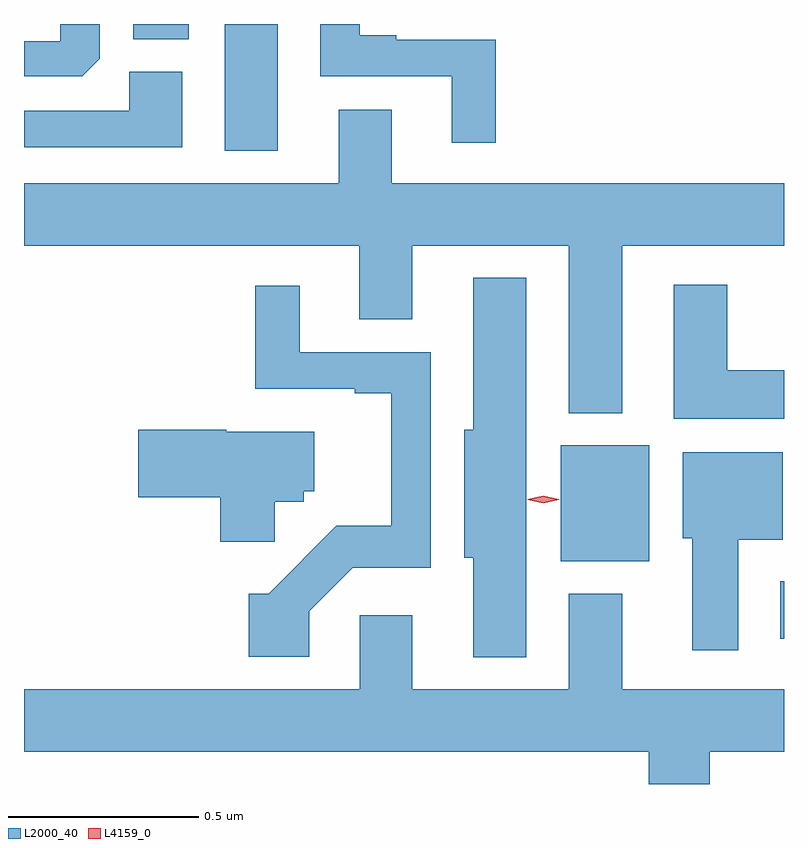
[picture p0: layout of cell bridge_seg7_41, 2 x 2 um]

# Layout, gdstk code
import gdstk
lib = gdstk.Library(unit=1e-6, precision=1e-09)
def R(c, l, rs):  # rectangles x0, y0, x1, y1
    for r in rs: c.add(gdstk.rectangle(r[:2], r[2:], *l))
def P(c, l, *ps):  # polygons
    for p in ps: c.add(gdstk.Polygon(p, *l))
L2000_40 = (2000, 40)
L4159_0 = (4159, 0)

bridge_seg7_41 = lib.new_cell('bridge_seg7_41')
R(bridge_seg7_41, L2000_40, [(977.787,1043.537,977.797,1043.689), (977.21,1043.741,977.443,1044.046), (976.325,1044.821,976.465,1045.155), (976.085,1045.115,976.231,1045.155)])
P(bridge_seg7_41, L2000_40, [(977.039,1045.113),(976.777,1045.113),(976.777,1045.126),(976.681,1045.126),(976.681,1045.155),(976.577,1045.155),(976.577,1045.017),(976.922,1045.017),(976.922,1044.843),(977.039,1044.843)],
  [(975.996,1045.063),(975.996,1045.155),(975.893,1045.155),(975.893,1045.11),(975.797,1045.11),(975.797,1045.017),(975.95,1045.017)],
  [(976.213,1045.03),(976.074,1045.03),(976.074,1044.927),(975.797,1044.927),(975.797,1044.831),(976.213,1044.831)],
  [(977.371,1044.572),(977.797,1044.572),(977.797,1044.736),(976.765,1044.736),(976.765,1044.93),(976.625,1044.93),(976.625,1044.736),(975.797,1044.736),(975.797,1044.572),(976.679,1044.572),(976.679,1044.378),(976.819,1044.378),(976.819,1044.572),(977.231,1044.572),(977.231,1044.131),(977.371,1044.131)],
  [(977.119,1044.487),(976.979,1044.487),(976.979,1044.087),(976.955,1044.087),(976.955,1043.751),(976.979,1043.751),(976.979,1043.489),(977.119,1043.489)],
  [(977.797,1044.244),(977.647,1044.244),(977.647,1044.469),(977.507,1044.469),(977.507,1044.116),(977.797,1044.116)],
  [(976.548,1043.61),(976.662,1043.724),(976.867,1043.724),(976.867,1044.291),(976.522,1044.291),(976.522,1044.466),(976.405,1044.466),(976.405,1044.195),(976.667,1044.195),(976.667,1044.183),(976.763,1044.183),(976.763,1043.834),(976.619,1043.834),(976.441,1043.656),(976.388,1043.656),(976.388,1043.49),(976.548,1043.49)],
  [(976.457,1043.898),(976.533,1043.898),(976.533,1043.925),(976.561,1043.925),(976.561,1044.082),(976.329,1044.082),(976.329,1044.087),(976.098,1044.087),(976.098,1043.909),(976.313,1043.909),(976.313,1043.793),(976.457,1043.793)],
  [(977.677,1043.798),(977.794,1043.798),(977.794,1044.028),(977.531,1044.028),(977.531,1043.802),(977.555,1043.802),(977.555,1043.507),(977.677,1043.507)],
  [(977.441,1043.155),(977.601,1043.155),(977.601,1043.24),(977.797,1043.24),(977.797,1043.404),(977.371,1043.404),(977.371,1043.656),(977.231,1043.656),(977.231,1043.404),(976.819,1043.404),(976.819,1043.599),(976.68,1043.599),(976.68,1043.404),(975.797,1043.404),(975.797,1043.24),(977.441,1043.24)])
P(bridge_seg7_41, L4159_0, [(977.164,1043.894),(977.123,1043.903),(977.123,1043.904),(977.123,1043.904),(977.164,1043.914),(977.204,1043.904),(977.205,1043.904),(977.204,1043.903)])

lib.write_gds('bridge_seg7_41.gds')
